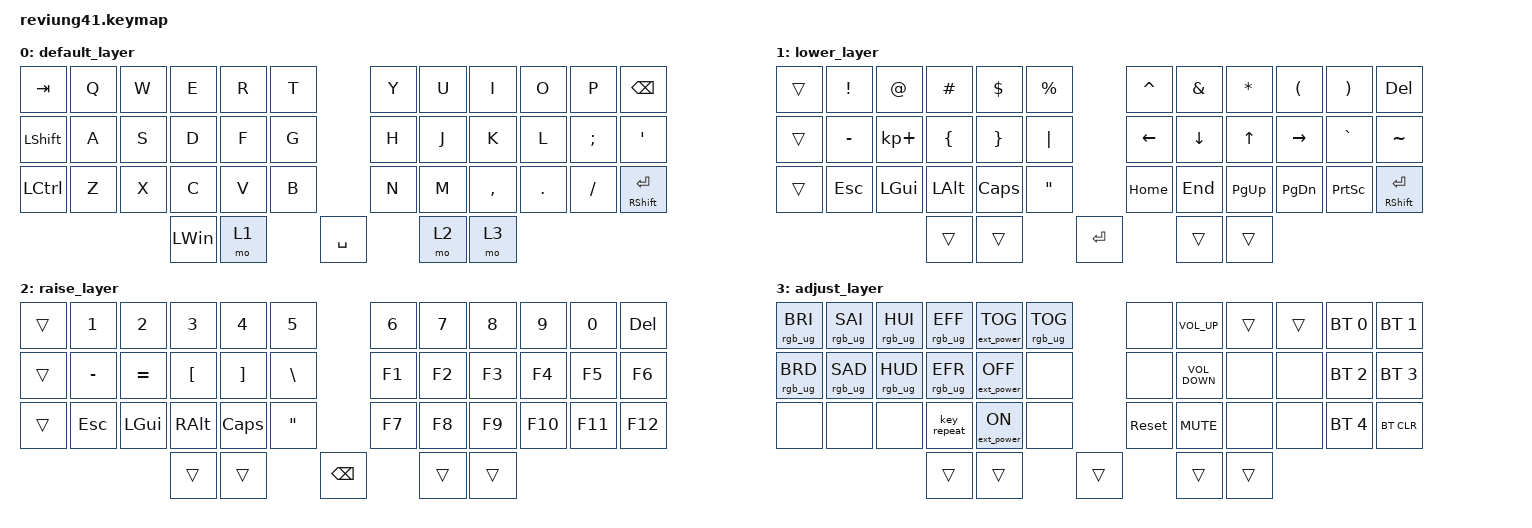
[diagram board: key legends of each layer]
/*
 * Copyright (c) 2020 The ZMK Contributors
 *
 * SPDX-License-Identifier: MIT
 */

#include <behaviors.dtsi>
#include <dt-bindings/zmk/bt.h>
#include <dt-bindings/zmk/ext_power.h>
#include <dt-bindings/zmk/keys.h>
#include <dt-bindings/zmk/rgb.h>

/ {
    keymap {
        compatible = "zmk,keymap";

        default_layer {
            // -------------------------------------------------------------------------------------
            // |  TAB |  Q  |  W  |  E  |  R  |  T  |   |  Y  |  U   |  I  |  O  |  P  |   BKSP    |
            // | LSHIFT |  A  |  S  |  D  |  F  |  G  |   |  H  |  J   |  K  |  L  |  ;  |    '      |
            // | SHFT |  Z  |  X  |  C  |  V  |  B  |   |  N  |  M   |  ,  |  .  |  /  | SHFT(RET) |
            //                         | ALT | LWR | SPC | RSE  | ALT |

            bindings = <
&kp TAB     &kp Q  &kp W  &kp E     &kp R  &kp T             &kp Y  &kp U  &kp I      &kp O    &kp P     &kp BSPC
&kp LSHIFT  &kp A  &kp S  &kp D     &kp F  &kp G             &kp H  &kp J  &kp K      &kp L    &kp SEMI  &kp SQT
&kp LCTRL   &kp Z  &kp X  &kp C     &kp V  &kp B             &kp N  &kp M  &kp COMMA  &kp DOT  &kp FSLH  &mt RSHFT RET
                          &kp LWIN  &mo 1         &kp SPACE         &mo 2  &mo 3
            >;
        };

        lower_layer {
            // ----------------------------------------------------------------------------------
            // |    |  !  |  @  |  #  |  $  |  %  |   |  ^  |  &  |  *  |  (  |  )  |    DEL    |
            // |    |  _  |  +  |  {  |  }  | "|" |   | LFT | DWN |  UP | RGT |  `  |     ~     |
            // |    | ESC | GUI | ALT | CAPS|  "  |   | HOME| END | PGUP| PGDN| PRSC| SHFT(RET) |
            //                       |     |     | RET | ADJ |     |

            bindings = <
&trans  &kp EXCL   &kp AT       &kp HASH  &kp DLLR  &kp PRCNT           &kp CARET  &kp AMPS  &kp ASTERISK  &kp LPAR   &kp RPAR   &kp DEL
&trans  &kp MINUS  &kp KP_PLUS  &kp LBRC  &kp RBRC  &kp PIPE            &kp LEFT   &kp DOWN  &kp UP        &kp RIGHT  &kp GRAVE  &kp TILDE
&trans  &kp ESC    &kp LGUI     &kp LALT  &kp CLCK  &kp DQT             &kp HOME   &kp END   &kp PG_UP     &kp PG_DN  &kp PSCRN  &mt RSHFT RET
                                &trans    &trans               &kp RET             &trans    &trans
            >;
        };

        raise_layer {
            // -----------------------------------------------------------------------------------------
            // |    |  1  |  2  |  3  |  4  |  5  |   |  6  |  7  |  8  |  9  |  0  | DEL |
            // |    |  -  |  =  |  [  |  ]  |  \  |   | F1  | F2  | F3  | F4  | F5  | F6  |
            // |    | ESC | GUI | ALT | CAPS|  "  |   | F7  | F8  | F9  | F10 | F11 | F12 |
            //                       |     | ADJ | BKSP |    |     |

            bindings = <
&trans  &kp N1     &kp N2     &kp N3    &kp N4    &kp N5              &kp N6  &kp N7  &kp N8  &kp N9   &kp N0   &kp DEL
&trans  &kp MINUS  &kp EQUAL  &kp LBKT  &kp RBKT  &kp BSLH            &kp F1  &kp F2  &kp F3  &kp F4   &kp F5   &kp F6
&trans  &kp ESC    &kp LGUI   &kp RALT  &kp CLCK  &kp DQT             &kp F7  &kp F8  &kp F9  &kp F10  &kp F11  &kp F12
                              &trans    &trans              &kp BSPC          &trans  &trans
            >;
        };

        adjust_layer {
            // -----------------------------------------------------------------------------------------
            // | RGB BRI+ | RGB SAT+ | RGB HUE+ | RGB ANI+ |    | RGB TOG |   |  BT1  | BT2 | BT3 | BT4 | BT5 | BT CLR |
            // | RGB BRI- | RGB SAT- | RGB HUE- | RGB ANI- |    |         |   |       |     |     |     |     |        |
            // |          |          |          |          |    |         |   | RESET |     |     |     |     |        |
            //                                              |     |     |     |     |     |

            bindings = <
&rgb_ug RGB_BRI  &rgb_ug RGB_SAI  &rgb_ug RGB_HUI  &rgb_ug RGB_EFF  &ext_power EP_TOG  &rgb_ug RGB_TOG          &none       &kp C_VOLUME_UP    &trans  &trans  &bt BT_SEL 0  &bt BT_SEL 1
&rgb_ug RGB_BRD  &rgb_ug RGB_SAD  &rgb_ug RGB_HUD  &rgb_ug RGB_EFR  &ext_power EP_OFF  &none                    &none       &kp C_VOLUME_DOWN  &none   &none   &bt BT_SEL 2  &bt BT_SEL 3
&none            &none            &none            &key_repeat      &ext_power EP_ON   &none                    &sys_reset  &kp C_MUTE         &none   &none   &bt BT_SEL 4  &bt BT_CLR
                                                   &trans           &trans                              &trans              &trans             &trans
            >;
        };
    };
};
